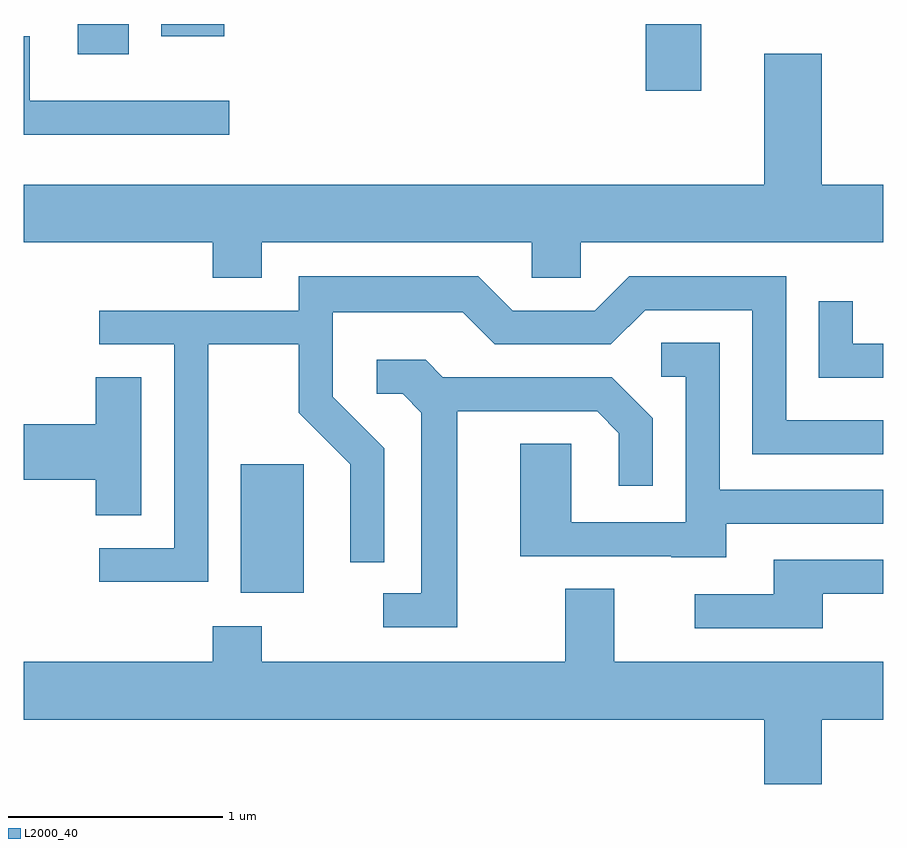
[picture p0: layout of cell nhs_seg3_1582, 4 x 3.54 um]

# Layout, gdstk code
import gdstk
lib = gdstk.Library(unit=1e-6, precision=1e-09)
def R(c, l, rs):  # rectangles x0, y0, x1, y1
    for r in rs: c.add(gdstk.rectangle(r[:2], r[2:], *l))
def P(c, l, *ps):  # polygons
    for p in ps: c.add(gdstk.Polygon(p, *l))
L2000_40 = (2000, 40)

nhs_seg3_1582 = lib.new_cell('nhs_seg3_1582')
R(nhs_seg3_1582, L2000_40, [(232.621,1153.246,232.914,1153.844), (234.506,1155.581,234.764,1155.892), (231.863,1155.751,232.099,1155.892), (232.251,1155.836,232.544,1155.892)])
P(nhs_seg3_1582, L2000_40, [(232.568,1155.534),(231.639,1155.534),(231.639,1155.834),(231.611,1155.834),(231.611,1155.376),(232.568,1155.376)],
  [(232.719,1154.876),(233.976,1154.876),(233.976,1154.711),(234.204,1154.711),(234.204,1154.876),(235.611,1154.876),(235.611,1155.144),(235.324,1155.144),(235.324,1155.754),(235.056,1155.754),(235.056,1155.144),(231.611,1155.144),(231.611,1154.876),(232.491,1154.876),(232.491,1154.711),(232.719,1154.711)],
  [(232.469,1154.401),(232.891,1154.401),(232.891,1154.084),(233.131,1153.844),(233.131,1153.388),(233.289,1153.388),(233.289,1153.917),(233.049,1154.157),(233.049,1154.551),(233.654,1154.551),(233.804,1154.401),(234.342,1154.401),(234.502,1154.561),(235.001,1154.561),(235.001,1153.891),(235.611,1153.891),(235.611,1154.049),(235.159,1154.049),(235.159,1154.719),(234.429,1154.719),(234.269,1154.559),(233.887,1154.559),(233.727,1154.719),(232.891,1154.719),(232.891,1154.559),(231.963,1154.559),(231.963,1154.401),(232.311,1154.401),(232.311,1153.454),(231.963,1153.454),(231.963,1153.296),(232.469,1153.296)],
  [(235.611,1154.404),(235.469,1154.404),(235.469,1154.603),(235.311,1154.603),(235.311,1154.246),(235.611,1154.246)],
  [(234.879,1153.566),(235.611,1153.566),(235.611,1153.724),(234.849,1153.724),(234.849,1154.409),(234.578,1154.409),(234.578,1154.251),(234.691,1154.251),(234.691,1153.574),(234.159,1153.574),(234.159,1153.939),(233.921,1153.939),(233.921,1153.416),(234.625,1153.416),(234.625,1153.411),(234.879,1153.411)],
  [(233.629,1154.091),(234.279,1154.091),(234.381,1153.989),(234.381,1153.743),(234.539,1153.743),(234.539,1154.057),(234.347,1154.249),(233.562,1154.249),(233.482,1154.329),(233.253,1154.329),(233.253,1154.171),(233.374,1154.171),(233.461,1154.084),(233.461,1153.244),(233.283,1153.244),(233.283,1153.086),(233.629,1153.086)],
  [(232.159,1154.249),(231.946,1154.249),(231.946,1154.029),(231.611,1154.029),(231.611,1153.771),(231.946,1153.771),(231.946,1153.606),(232.159,1153.606)],
  [(235.329,1153.241),(235.611,1153.241),(235.611,1153.399),(235.101,1153.399),(235.101,1153.239),(234.733,1153.239),(234.733,1153.081),(235.329,1153.081)],
  [(235.324,1152.656),(235.611,1152.656),(235.611,1152.924),(234.359,1152.924),(234.359,1153.264),(234.131,1153.264),(234.131,1152.924),(232.719,1152.924),(232.719,1153.089),(232.491,1153.089),(232.491,1152.924),(231.611,1152.924),(231.611,1152.656),(235.056,1152.656),(235.056,1152.356),(235.324,1152.356)])

lib.write_gds('nhs_seg3_1582.gds')
